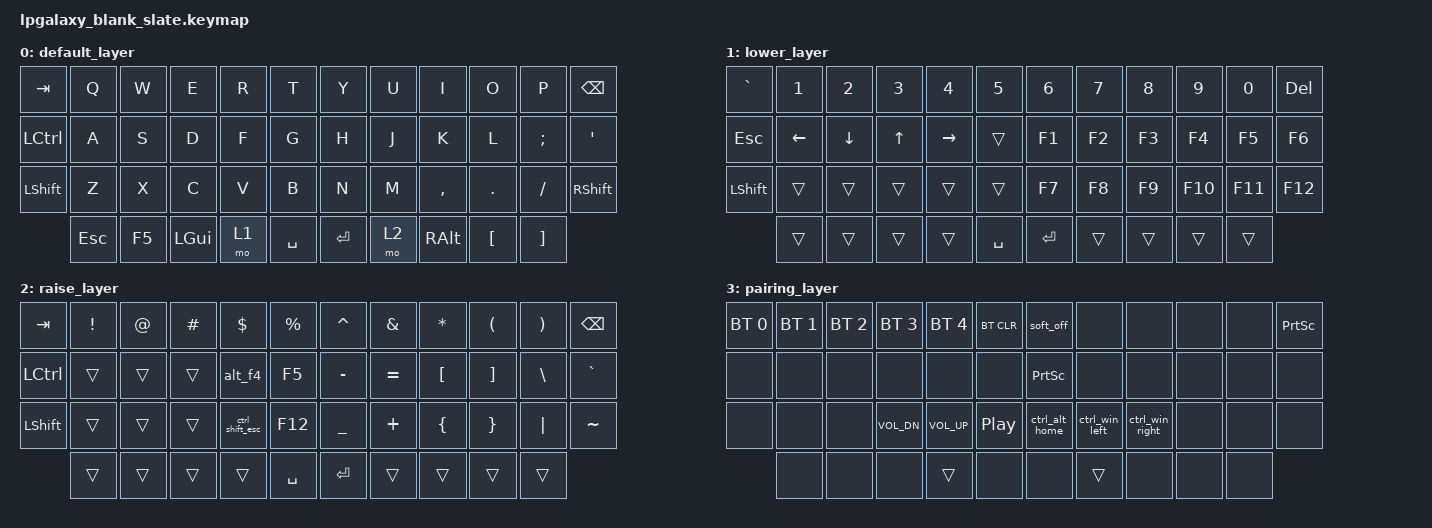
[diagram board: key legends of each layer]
/*
 * Copyright (c) 2022 Pete Johanson
 *
 * SPDX-License-Identifier: MIT
 */

#include <behaviors.dtsi>
#include <dt-bindings/zmk/keys.h>
#include <dt-bindings/zmk/bt.h>
#include <dt-bindings/zmk/outputs.h>

#define QWERTY_BASE 1
#define TBLE_DUAL_2U 1

/ {
    chosen {
        zmk,matrix_transform = &dual_2u_transform;
    };

    macros {
      ctrl_alt_home: ctrl_alt_home {
        compatible = "zmk,behavior-macro";
        #binding-cells = <0>;
        bindings = <&macro_press &kp LCTRL &kp LALT>,
                   <&macro_tap &kp HOME>,
                   <&macro_release &kp LCTRL &kp LALT>;
      };
      ctrl_win_left: ctrl_win_left {
        compatible = "zmk,behavior-macro";
        #binding-cells = <0>;
        bindings = <&macro_press &kp LCTRL &kp LGUI>,
                   <&macro_tap &kp LEFT>,
                   <&macro_release &kp LCTRL &kp LGUI>;
      };
      ctrl_win_right: ctrl_win_right {
        compatible = "zmk,behavior-macro";
        #binding-cells = <0>;
        bindings = <&macro_press &kp LCTRL &kp LGUI>,
                   <&macro_tap &kp RIGHT>,
                   <&macro_release &kp LCTRL &kp LGUI>;
      };
      ctrl_shift_esc: ctrl_shift_esc {
        compatible = "zmk,behavior-macro";
        #binding-cells = <0>;
        bindings = <&macro_press &kp LCTRL &kp LSHIFT>,
                   <&macro_tap &kp ESC>,
                   <&macro_release &kp LCTRL &kp LSHIFT>;
      };
      alt_f4: alt_f4 {
        compatible = "zmk,behavior-macro";
        #binding-cells = <0>;
        bindings = <&macro_press &kp LALT>,
                   <&macro_tap &kp F4>,
                   <&macro_release &kp LALT>;
      };
      ctrl_shift_r: ctrl_shift_r {
        compatible = "zmk,behavior-macro";
        #binding-cells = <0>;
        bindings = <&macro_press &kp LCTRL &kp LSHIFT>,
                   <&macro_tap &kp R>,
                   <&macro_release &kp LCTRL &kp LSHIFT>;
      };
      win_l: win_l {
        compatible = "zmk,behavior-macro";
        #binding-cells = <0>;
        bindings = <&macro_press &kp LGUI>,
                   <&macro_tap &kp L>,
                   <&macro_release &kp LGUI>;
      };
  };
};

/ {
  conditional_layers {
    compatible = "zmk,conditional-layers";
    tri_layer {
      if-layers = <1 2>;
      then-layer = <3>;
    };
  };
};

/ {
        keymap {
                compatible = "zmk,keymap";
                default_layer {
                        bindings = <
&kp TAB         &kp Q           &kp W           &kp E           &kp R           &kp T           &kp Y           &kp U           &kp I           &kp O           &kp P           &kp BSPC
&kp LCTRL       &kp A           &kp S           &kp D           &kp F           &kp G           &kp H           &kp J           &kp K           &kp L           &kp SEMI        &kp SQT
&kp LSHFT       &kp Z           &kp X           &kp C           &kp V           &kp B           &kp N           &kp M           &kp COMMA       &kp DOT         &kp FSLH        &kp RSHIFT
                &kp ESC         &kp F5          &kp LGUI        &mo 1           &kp SPACE       &kp RET         &mo 2           &kp RALT        &kp LBKT        &kp RBKT
                        >;
                };
                lower_layer {
                        bindings = <
&kp GRAVE       &kp N1          &kp N2          &kp N3          &kp N4          &kp N5          &kp N6          &kp N7          &kp N8          &kp N9          &kp N0          &kp DEL
&kp ESC         &kp LEFT        &kp DOWN        &kp UP          &kp RIGHT       &trans          &kp F1          &kp F2          &kp F3          &kp F4          &kp F5          &kp F6
&kp LSHFT       &trans          &trans          &trans          &trans          &trans          &kp F7          &kp F8          &kp F9          &kp F10         &kp F11         &kp F12
                &trans          &trans          &trans          &trans          &kp SPACE       &kp RET         &trans          &trans          &trans          &trans
                        >;
                };
                raise_layer {
                        bindings = <
&kp TAB         &kp EXCL        &kp AT          &kp HASH        &kp DLLR        &kp PRCNT       &kp CARET       &kp AMPS        &kp ASTRK       &kp LPAR        &kp RPAR       &kp BSPC
&kp LCTRL       &trans          &trans          &trans          &alt_f4         &kp F5          &kp MINUS       &kp EQUAL       &kp LBKT        &kp RBKT        &kp BSLH       &kp GRAVE
&kp LSHFT       &trans          &trans          &trans          &ctrl_shift_esc &kp F12         &kp UNDER       &kp PLUS        &kp LBRC        &kp RBRC        &kp PIPE       &kp TILDE
                &trans          &trans          &trans          &trans          &kp SPACE       &kp RET         &trans          &trans          &trans          &trans
                        >;
                };
                pairing_layer {
                        bindings = <
&bt BT_SEL 0    &bt BT_SEL 1    &bt BT_SEL 2    &bt BT_SEL 3    &bt BT_SEL 4    &bt BT_CLR      &soft_off       &none           &none           &none           &none           &kp PSCRN
&none           &none           &none           &none           &none           &none           &kp PSCRN       &none           &none           &none           &none           &none
&none           &none           &none           &kp C_VOL_DN    &kp C_VOL_UP    &kp C_PP        &ctrl_alt_home  &ctrl_win_left  &ctrl_win_right &none           &none           &none
                &none           &none           &none           &trans          &none           &none           &trans          &none           &none           &none
                        >;
                };
        };
};

